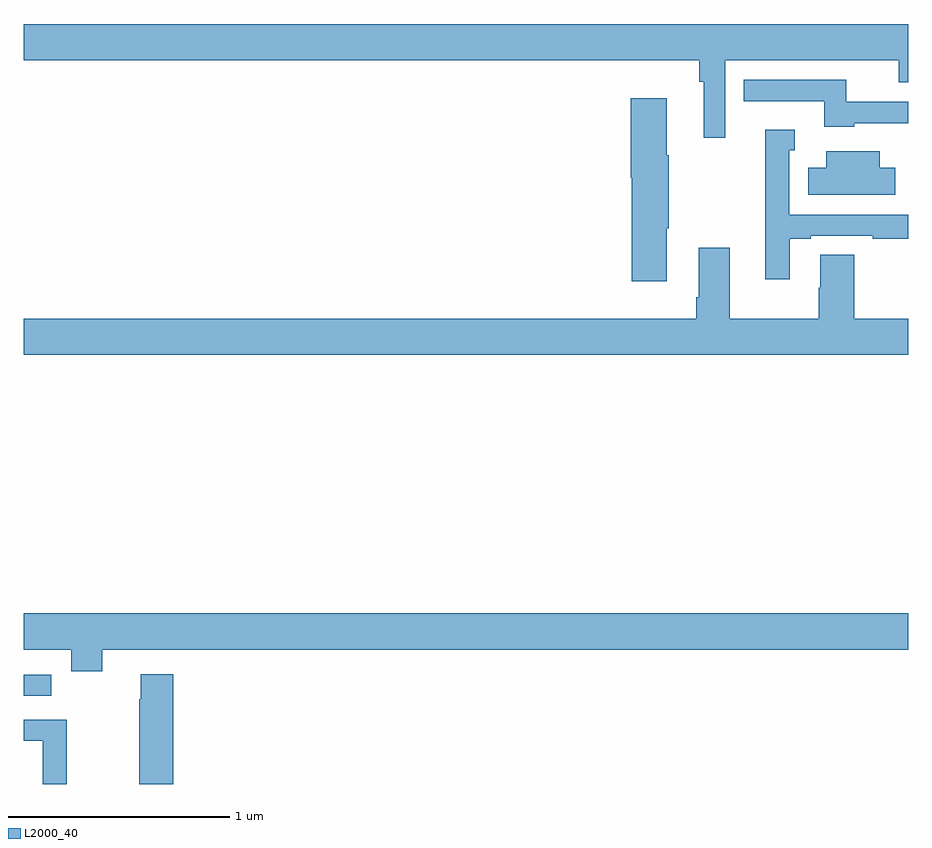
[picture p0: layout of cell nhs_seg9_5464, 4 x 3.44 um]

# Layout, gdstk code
import gdstk
lib = gdstk.Library(unit=1e-6, precision=1e-09)
def R(c, l, rs):  # rectangles x0, y0, x1, y1
    for r in rs: c.add(gdstk.rectangle(r[:2], r[2:], *l))
def P(c, l, *ps):  # polygons
    for p in ps: c.add(gdstk.Polygon(p, *l))
L2000_40 = (2000, 40)

nhs_seg9_5464 = lib.new_cell('nhs_seg9_5464')
R(nhs_seg9_5464, L2000_40, [(429,1174.899,429.124,1174.995)])
P(nhs_seg9_5464, L2000_40, [(432.171,1177.772),(432.956,1177.772),(432.956,1177.673),(433,1177.673),(433,1177.936),(429,1177.936),(429,1177.772),(432.055,1177.772),(432.055,1177.676),(432.074,1177.676),(432.074,1177.422),(432.171,1177.422)],
  [(432.756,1177.488),(433,1177.488),(433,1177.584),(432.72,1177.584),(432.72,1177.683),(432.256,1177.683),(432.256,1177.587),(432.62,1177.587),(432.62,1177.472),(432.756,1177.472)],
  [(431.908,1177.012),(431.916,1177.012),(431.916,1177.342),(431.908,1177.342),(431.908,1177.6),(431.744,1177.6),(431.744,1177.242),(431.75,1177.242),(431.75,1176.774),(431.908,1176.774)],
  [(432.463,1176.966),(432.559,1176.966),(432.559,1176.978),(432.838,1176.978),(432.838,1176.966),(433,1176.966),(433,1177.074),(432.462,1177.074),(432.462,1177.365),(432.487,1177.365),(432.487,1177.459),(432.354,1177.459),(432.354,1177.027),(432.353,1177.027),(432.353,1176.783),(432.463,1176.783)],
  [(432.94,1177.285),(432.871,1177.285),(432.871,1177.36),(432.629,1177.36),(432.629,1177.285),(432.547,1177.285),(432.547,1177.163),(432.94,1177.163)],
  [(433,1176.604),(432.755,1176.604),(432.755,1176.893),(432.602,1176.893),(432.602,1176.743),(432.595,1176.743),(432.595,1176.604),(432.193,1176.604),(432.193,1176.925),(432.053,1176.925),(432.053,1176.7),(432.041,1176.7),(432.041,1176.604),(429,1176.604),(429,1176.44),(433,1176.44)],
  [(429.355,1175.108),(433,1175.108),(433,1175.272),(429,1175.272),(429,1175.108),(429.215,1175.108),(429.215,1175.009),(429.355,1175.009)],
  [(429.677,1174.996),(429.53,1174.996),(429.53,1174.883),(429.523,1174.883),(429.523,1174.5),(429.677,1174.5)],
  [(429.196,1174.791),(429,1174.791),(429,1174.695),(429.087,1174.695),(429.087,1174.5),(429.196,1174.5)])

lib.write_gds('nhs_seg9_5464.gds')
